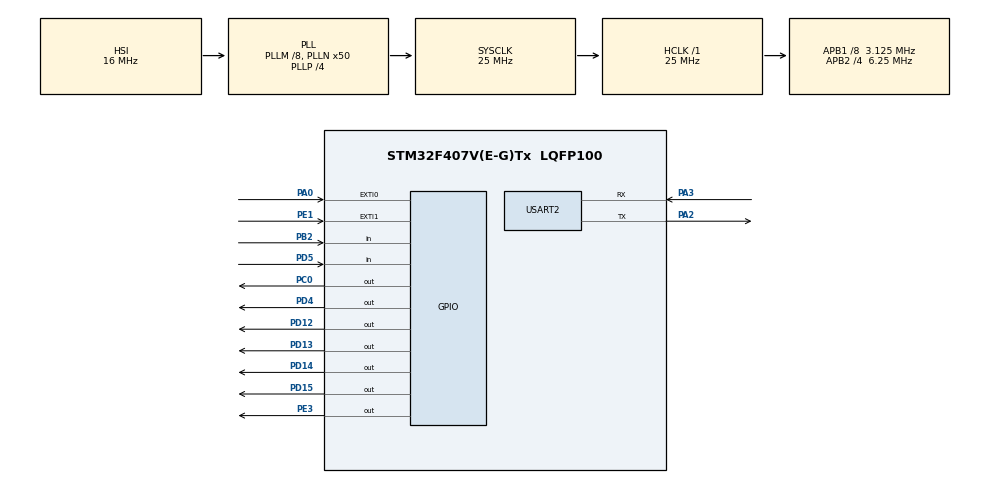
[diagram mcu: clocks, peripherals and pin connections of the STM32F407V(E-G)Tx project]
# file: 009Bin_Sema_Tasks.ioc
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Mcu.Family=STM32F4
Mcu.Name=STM32F407V(E-G)Tx
Mcu.Package=LQFP100
NVIC.PriorityGroup=NVIC_PRIORITYGROUP_4
NVIC.TIM6_DAC_IRQn=true\:0\:0\:false\:false\:true\:false\:true
NVIC.TimeBase=TIM6_DAC_IRQn
NVIC.TimeBaseIP=TIM6
PA0-WKUP.GPIO_ModeDefaultEXTI=GPIO_MODE_IT_RISING
PA0-WKUP.GPIO_PuPd=GPIO_NOPULL
PA0-WKUP.Signal=GPXTI0
PA10.GPIO_Mode=GPIO_MODE_AF_PP
PA10.GPIO_PuPd=GPIO_NOPULL
PA10.GPIO_Speed=GPIO_SPEED_FREQ_VERY_HIGH
PA10.Signal=USB_OTG_FS_ID
PA11.GPIO_Mode=GPIO_MODE_AF_PP
PA11.GPIO_PuPd=GPIO_NOPULL
PA11.GPIO_Speed=GPIO_SPEED_FREQ_VERY_HIGH
PA11.Signal=USB_OTG_FS_DM
PA12.GPIO_Mode=GPIO_MODE_AF_PP
PA12.GPIO_PuPd=GPIO_NOPULL
PA12.GPIO_Speed=GPIO_SPEED_FREQ_VERY_HIGH
PA12.Signal=USB_OTG_FS_DP
PA13.Signal=SYS_JTMS-SWDIO
PA14.Signal=SYS_JTCK-SWCLK
PA2.Mode=Asynchronous
PA2.Signal=USART2_TX
PA3.Mode=Asynchronous
PA3.Signal=USART2_RX
PA4.GPIO_Mode=GPIO_MODE_AF_PP
PA4.GPIO_PuPd=GPIO_NOPULL
PA4.GPIO_Speed=GPIO_SPEED_FREQ_LOW
PA4.Signal=I2S3_WS
PA5.GPIO_Mode=GPIO_MODE_AF_PP
PA5.GPIO_PuPd=GPIO_NOPULL
PA5.GPIO_Speed=GPIO_SPEED_FREQ_VERY_HIGH
PA5.Signal=SPI1_SCK
PA6.GPIO_Mode=GPIO_MODE_AF_PP
PA6.GPIO_PuPd=GPIO_NOPULL
PA6.GPIO_Speed=GPIO_SPEED_FREQ_VERY_HIGH
PA6.Signal=SPI1_MISO
PA7.GPIO_Mode=GPIO_MODE_AF_PP
PA7.GPIO_PuPd=GPIO_NOPULL
PA7.GPIO_Speed=GPIO_SPEED_FREQ_VERY_HIGH
PA7.Signal=SPI1_MOSI
PA9.GPIO_Mode=GPIO_MODE_INPUT
PA9.GPIO_PuPd=GPIO_NOPULL
PA9.Signal=USB_OTG_FS_VBUS
PB10.GPIO_Mode=GPIO_MODE_AF_PP
PB10.GPIO_PuPd=GPIO_NOPULL
PB10.GPIO_Speed=GPIO_SPEED_FREQ_LOW
PB10.Signal=I2S2_CK
PB2.GPIO_Mode=GPIO_MODE_INPUT
PB2.GPIO_PuPd=GPIO_NOPULL
PB2.Signal=GPIO_Input
PB3.Signal=SYS_JTDO-SWO
PB6.GPIO_Mode=GPIO_MODE_AF_OD
PB6.GPIO_PuPd=GPIO_NOPULL
PB6.GPIO_PuPdOD=GPIO_PULLUP
PB6.GPIO_Speed=GPIO_SPEED_FREQ_VERY_HIGH
PB6.Signal=I2C1_SCL
PB9.GPIO_Mode=GPIO_MODE_AF_OD
PB9.GPIO_PuPd=GPIO_NOPULL
PB9.GPIO_PuPdOD=GPIO_PULLUP
PB9.GPIO_Speed=GPIO_SPEED_FREQ_VERY_HIGH
PB9.Signal=I2C1_SDA
PC0.GPIO_ModeDefaultOutputPP=GPIO_MODE_OUTPUT_PP
PC0.GPIO_PuPd=GPIO_NOPULL
PC0.GPIO_Speed=GPIO_SPEED_FREQ_LOW
PC0.PinState=GPIO_PIN_RESET
PC0.Signal=GPIO_Output
PC10.GPIO_Mode=GPIO_MODE_AF_PP
PC10.GPIO_PuPd=GPIO_NOPULL
PC10.GPIO_Speed=GPIO_SPEED_FREQ_LOW
PC10.Signal=I2S3_CK
PC12.GPIO_Mode=GPIO_MODE_AF_PP
PC12.GPIO_PuPd=GPIO_NOPULL
PC12.GPIO_Speed=GPIO_SPEED_FREQ_LOW
PC12.Signal=I2S3_SD
PC14-OSC32_IN.Signal=RCC_OSC32_IN
PC15-OSC32_OUT.Signal=RCC_OSC32_OUT
PC3.GPIO_Mode=GPIO_MODE_AF_PP
PC3.GPIO_PuPd=GPIO_NOPULL
PC3.GPIO_Speed=GPIO_SPEED_FREQ_LOW
PC3.Signal=I2S2_SD
PC7.GPIO_Mode=GPIO_MODE_AF_PP
PC7.GPIO_PuPd=GPIO_NOPULL
PC7.GPIO_Speed=GPIO_SPEED_FREQ_LOW
PC7.Signal=I2S3_MCK
PD12.GPIO_ModeDefaultOutputPP=GPIO_MODE_OUTPUT_PP
PD12.GPIO_PuPd=GPIO_NOPULL
PD12.GPIO_Speed=GPIO_SPEED_FREQ_LOW
PD12.PinState=GPIO_PIN_RESET
PD12.Signal=GPIO_Output
PD13.GPIO_ModeDefaultOutputPP=GPIO_MODE_OUTPUT_PP
PD13.GPIO_PuPd=GPIO_NOPULL
PD13.GPIO_Speed=GPIO_SPEED_FREQ_LOW
PD13.PinState=GPIO_PIN_RESET
PD13.Signal=GPIO_Output
PD14.GPIO_ModeDefaultOutputPP=GPIO_MODE_OUTPUT_PP
PD14.GPIO_PuPd=GPIO_NOPULL
PD14.GPIO_Speed=GPIO_SPEED_FREQ_LOW
PD14.PinState=GPIO_PIN_RESET
PD14.Signal=GPIO_Output
PD15.GPIO_ModeDefaultOutputPP=GPIO_MODE_OUTPUT_PP
PD15.GPIO_PuPd=GPIO_NOPULL
PD15.GPIO_Speed=GPIO_SPEED_FREQ_LOW
PD15.PinState=GPIO_PIN_RESET
PD15.Signal=GPIO_Output
PD4.GPIO_ModeDefaultOutputPP=GPIO_MODE_OUTPUT_PP
PD4.GPIO_PuPd=GPIO_NOPULL
PD4.GPIO_Speed=GPIO_SPEED_FREQ_LOW
PD4.PinState=GPIO_PIN_RESET
PD4.Signal=GPIO_Output
PD5.GPIO_Mode=GPIO_MODE_INPUT
PD5.GPIO_PuPd=GPIO_NOPULL
PD5.Signal=GPIO_Input
PE1.GPIO_ModeDefaultEXTI=GPIO_MODE_IT_RISING
PE1.GPIO_PuPd=GPIO_NOPULL
PE1.Signal=GPXTI1
PE3.GPIO_ModeDefaultOutputPP=GPIO_MODE_OUTPUT_PP
PE3.GPIO_PuPd=GPIO_NOPULL
PE3.GPIO_Speed=GPIO_SPEED_FREQ_LOW
PE3.PinState=GPIO_PIN_RESET
PE3.Signal=GPIO_Output
PH0-OSC_IN.Signal=RCC_OSC_IN
PH1-OSC_OUT.Signal=RCC_OSC_OUT
ProjectManager.HeapSize=0x200
ProjectManager.StackSize=0x400
ProjectManager.TargetToolchain=STM32CubeIDE
RCC.48MHZClocksFreq_Value=14285714.285714285
RCC.AHBFreq_Value=25000000
RCC.APB1CLKDivider=RCC_HCLK_DIV8
RCC.APB1Freq_Value=3125000
RCC.APB1TimFreq_Value=6250000
RCC.APB2CLKDivider=RCC_HCLK_DIV4
RCC.APB2Freq_Value=6250000
RCC.APB2TimFreq_Value=12500000
RCC.CortexFreq_Value=25000000
RCC.HCLKFreq_Value=25000000
RCC.HSE_VALUE=8000000
RCC.HSI_VALUE=16000000
RCC.LSE_VALUE=32768
RCC.PLLM=8
RCC.PLLN=50
RCC.PLLP=RCC_PLLP_DIV4
RCC.PLLQ=7
RCC.SYSCLKFreq_VALUE=25000000
RCC.SYSCLKSource=RCC_SYSCLKSOURCE_PLLCLK
RCC.VCOOutputFreq_Value=100000000
USART2.VirtualMode=VM_ASYNC
VP_SYS_VS_tim6.Mode=TIM6
board=STM32F4DISCOVERY

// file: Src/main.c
/* USER CODE BEGIN Header */
/**
  ******************************************************************************
  * @file           : main.c
  * @brief          : Main program body
  ******************************************************************************
  * @attention
  *
  * <h2><center>&copy; Copyright (c) 2024 STMicroelectronics.
  * All rights reserved.</center></h2>
  *
  * This software component is licensed by ST under BSD 3-Clause license,
  * the "License"; You may not use this file except in compliance with the
  * License. You may obtain a copy of the License at:
  *                        opensource.org/licenses/BSD-3-Clause
  *
  ******************************************************************************
  */
/* USER CODE END Header */

#include "main.h"

/* USER CODE BEGIN Includes */
#include "stdio.h"
#include "stdlib.h"
#include "string.h"
#include <time.h>

#include "FreeRTOS.h"
#include "task.h"
#include "queue.h"
#include "semphr.h"

#include "stm32f407xx.h"
/* USER CODE END Includes */

UART_HandleTypeDef huart2;

/* USER CODE BEGIN PV */
#define DWT_CTRL    (*(volatile uint32_t*)0xE0001000)

#define D_UART	&huart2

TaskHandle_t ManagerTask_handle;
TaskHandle_t EmployeeTask_handle;

/* Declare a variable of type xSemaphoreHandle.
This is used to reference the semaphore that is used to synchronize both Manager and Employee task */
xSemaphoreHandle xBin_Sema;

/* This is the Queue which Manager task uses to put the work Ticket ID */
xQueueHandle xWorkQueue;

char usr_msg[250]={0};
/* USER CODE END PV */

void SystemClock_Config(void);
static void MX_GPIO_Init(void);
static void MX_USART2_UART_Init(void);
/* USER CODE BEGIN PFP */
static void vManagerTask_handler(void *pvParameters);
static void vEmployeeTask_handler(void *pvParameters);
void EmployeeDoWork(uint32_t u32TicketID);
void printmsg(char *format,...);

extern void SEGGER_UART_init(uint32_t);
/* USER CODE END PFP */

int main(void)
{
  /* USER CODE BEGIN 1 */
	BaseType_t status;
  /* USER CODE END 1 */

  /* MCU Configuration--------------------------------------------------------*/

  /* Reset of all peripherals, Initializes the Flash interface and the Systick. */
  HAL_Init();

  /* Configure the system clock */
  SystemClock_Config();

  /* Initialize all configured peripherals */
  MX_GPIO_Init();
  MX_USART2_UART_Init();
  /* USER CODE BEGIN 2 */
  //SEGGER_UART_init(500000);

  //CYCLCNT enable
     DWT_CTRL |= ( 1 << 0);

     //SEGGER_SYSVIEW_Conf();

  //   SEGGER_SYSVIEW_Start();

     srand(time(NULL)); // Seed once at the start

     printmsg("Demo of Binary semaphore usage between 2 Tasks \r\n");

     /* Create Binary semaphore */
     vSemaphoreCreateBinary(xBin_Sema);

     /* Create Queue: 1 space for Ticket ID, Ticket ID is unsigned int type */
     xWorkQueue = xQueueCreate(1, sizeof(unsigned int));

     /* If the Binary semaphore and Queue are created successfully, we will create 2 tasks and schedule them */
     if ((xBin_Sema != NULL) && (xWorkQueue != NULL))
     {
    	// The Manager task is created with a high priority
		status = xTaskCreate(vManagerTask_handler, "Manager-Task", 500, NULL, 3, &ManagerTask_handle);
		configASSERT(status == pdPASS);

		// The Employee task is created with lower priority than Manager task
		status = xTaskCreate(vEmployeeTask_handler, "Employee-Task", 500, NULL, 1, &EmployeeTask_handle);
		configASSERT(status == pdPASS);

		// Start the scheduler
		vTaskStartScheduler();
     }

  /* USER CODE END 2 */

  /* Infinite loop */
  /* USER CODE BEGIN WHILE */
     /* If all is well we will never reach here as the scheduler will now be
         running the tasks.  If we do reach here then it is likely that there was
         insufficient heap memory available for a resource to be created. */
  while (1)
  {
    /* USER CODE END WHILE */

  }
}

void SystemClock_Config(void)
{
  RCC_OscInitTypeDef RCC_OscInitStruct = {0};
  RCC_ClkInitTypeDef RCC_ClkInitStruct = {0};

  /** Configure the main internal regulator output voltage
  */
  __HAL_RCC_PWR_CLK_ENABLE();
  __HAL_PWR_VOLTAGESCALING_CONFIG(PWR_REGULATOR_VOLTAGE_SCALE1);
  /** Initializes the CPU, AHB and APB busses clocks
  */
  RCC_OscInitStruct.OscillatorType = RCC_OSCILLATORTYPE_HSI;
  RCC_OscInitStruct.HSIState = RCC_HSI_ON;
  RCC_OscInitStruct.HSICalibrationValue = RCC_HSICALIBRATION_DEFAULT;
  RCC_OscInitStruct.PLL.PLLState = RCC_PLL_ON;
  RCC_OscInitStruct.PLL.PLLSource = RCC_PLLSOURCE_HSI;
  RCC_OscInitStruct.PLL.PLLM = 8;
  RCC_OscInitStruct.PLL.PLLN = 50;
  RCC_OscInitStruct.PLL.PLLP = RCC_PLLP_DIV4;
  RCC_OscInitStruct.PLL.PLLQ = 7;
  if (HAL_RCC_OscConfig(&RCC_OscInitStruct) != HAL_OK)
  {
    Error_Handler();
  }
  /** Initializes the CPU, AHB and APB busses clocks
  */
  RCC_ClkInitStruct.ClockType = RCC_CLOCKTYPE_HCLK|RCC_CLOCKTYPE_SYSCLK
                              |RCC_CLOCKTYPE_PCLK1|RCC_CLOCKTYPE_PCLK2;
  RCC_ClkInitStruct.SYSCLKSource = RCC_SYSCLKSOURCE_PLLCLK;
  RCC_ClkInitStruct.AHBCLKDivider = RCC_SYSCLK_DIV1;
  RCC_ClkInitStruct.APB1CLKDivider = RCC_HCLK_DIV8;
  RCC_ClkInitStruct.APB2CLKDivider = RCC_HCLK_DIV4;

  if (HAL_RCC_ClockConfig(&RCC_ClkInitStruct, FLASH_LATENCY_0) != HAL_OK)
  {
    Error_Handler();
  }
}

static void MX_USART2_UART_Init(void)
{

  huart2.Instance = USART2;
  huart2.Init.BaudRate = 115200;
  huart2.Init.WordLength = UART_WORDLENGTH_8B;
  huart2.Init.StopBits = UART_STOPBITS_1;
  huart2.Init.Parity = UART_PARITY_NONE;
  huart2.Init.Mode = UART_MODE_TX_RX;
  huart2.Init.HwFlowCtl = UART_HWCONTROL_NONE;
  huart2.Init.OverSampling = UART_OVERSAMPLING_16;
  if (HAL_UART_Init(&huart2) != HAL_OK)
  {
    Error_Handler();
  }

}

static void MX_GPIO_Init(void)
{
  GPIO_InitTypeDef GPIO_InitStruct = {0};

  /* GPIO Ports Clock Enable */
  __HAL_RCC_GPIOE_CLK_ENABLE();
  __HAL_RCC_GPIOC_CLK_ENABLE();
  __HAL_RCC_GPIOH_CLK_ENABLE();
  __HAL_RCC_GPIOA_CLK_ENABLE();
  __HAL_RCC_GPIOB_CLK_ENABLE();
  __HAL_RCC_GPIOD_CLK_ENABLE();

  /*Configure GPIO pin Output Level */
  HAL_GPIO_WritePin(GPIOE, GPIO_PIN_3, GPIO_PIN_RESET);

  /*Configure GPIO pin Output Level */
  HAL_GPIO_WritePin(GPIOC, GPIO_PIN_0, GPIO_PIN_RESET);

  /*Configure GPIO pin Output Level */
  HAL_GPIO_WritePin(GPIOD, GPIO_PIN_12|GPIO_PIN_13|GPIO_PIN_14|GPIO_PIN_15
                          |GPIO_PIN_4, GPIO_PIN_RESET);

  /*Configure GPIO pin : PE3 */
  GPIO_InitStruct.Pin = GPIO_PIN_3;
  GPIO_InitStruct.Mode = GPIO_MODE_OUTPUT_PP;
  GPIO_InitStruct.Pull = GPIO_NOPULL;
  GPIO_InitStruct.Speed = GPIO_SPEED_FREQ_LOW;
  HAL_GPIO_Init(GPIOE, &GPIO_InitStruct);

  /*Configure GPIO pin : PC0 */
  GPIO_InitStruct.Pin = GPIO_PIN_0;
  GPIO_InitStruct.Mode = GPIO_MODE_OUTPUT_PP;
  GPIO_InitStruct.Pull = GPIO_NOPULL;
  GPIO_InitStruct.Speed = GPIO_SPEED_FREQ_LOW;
  HAL_GPIO_Init(GPIOC, &GPIO_InitStruct);

  /*Configure GPIO pin : PC3 */
  GPIO_InitStruct.Pin = GPIO_PIN_3;
  GPIO_InitStruct.Mode = GPIO_MODE_AF_PP;
  GPIO_InitStruct.Pull = GPIO_NOPULL;
  GPIO_InitStruct.Speed = GPIO_SPEED_FREQ_LOW;
  GPIO_InitStruct.Alternate = GPIO_AF5_SPI2;
  HAL_GPIO_Init(GPIOC, &GPIO_InitStruct);

  /*Configure GPIO pin : PA0 */
  GPIO_InitStruct.Pin = GPIO_PIN_0;
  GPIO_InitStruct.Mode = GPIO_MODE_IT_RISING;
  GPIO_InitStruct.Pull = GPIO_NOPULL;
  HAL_GPIO_Init(GPIOA, &GPIO_InitStruct);

  /*Configure GPIO pin : PA4 */
  GPIO_InitStruct.Pin = GPIO_PIN_4;
  GPIO_InitStruct.Mode = GPIO_MODE_AF_PP;
  GPIO_InitStruct.Pull = GPIO_NOPULL;
  GPIO_InitStruct.Speed = GPIO_SPEED_FREQ_LOW;
  GPIO_InitStruct.Alternate = GPIO_AF6_SPI3;
  HAL_GPIO_Init(GPIOA, &GPIO_InitStruct);

  /*Configure GPIO pins : PA5 PA6 PA7 */
  GPIO_InitStruct.Pin = GPIO_PIN_5|GPIO_PIN_6|GPIO_PIN_7;
  GPIO_InitStruct.Mode = GPIO_MODE_AF_PP;
  GPIO_InitStruct.Pull = GPIO_NOPULL;
  GPIO_InitStruct.Speed = GPIO_SPEED_FREQ_VERY_HIGH;
  GPIO_InitStruct.Alternate = GPIO_AF5_SPI1;
  HAL_GPIO_Init(GPIOA, &GPIO_InitStruct);

  /*Configure GPIO pin : PB2 */
  GPIO_InitStruct.Pin = GPIO_PIN_2;
  GPIO_InitStruct.Mode = GPIO_MODE_INPUT;
  GPIO_InitStruct.Pull = GPIO_NOPULL;
  HAL_GPIO_Init(GPIOB, &GPIO_InitStruct);

  /*Configure GPIO pin : PB10 */
  GPIO_InitStruct.Pin = GPIO_PIN_10;
  GPIO_InitStruct.Mode = GPIO_MODE_AF_PP;
  GPIO_InitStruct.Pull = GPIO_NOPULL;
  GPIO_InitStruct.Speed = GPIO_SPEED_FREQ_LOW;
  GPIO_InitStruct.Alternate = GPIO_AF5_SPI2;
  HAL_GPIO_Init(GPIOB, &GPIO_InitStruct);

  /*Configure GPIO pins : PD12 PD13 PD14 PD15
                           PD4 */
  GPIO_InitStruct.Pin = GPIO_PIN_12|GPIO_PIN_13|GPIO_PIN_14|GPIO_PIN_15
                          |GPIO_PIN_4;
  GPIO_InitStruct.Mode = GPIO_MODE_OUTPUT_PP;
  GPIO_InitStruct.Pull = GPIO_NOPULL;
  GPIO_InitStruct.Speed = GPIO_SPEED_FREQ_LOW;
  HAL_GPIO_Init(GPIOD, &GPIO_InitStruct);

  /*Configure GPIO pins : PC7 PC10 PC12 */
  GPIO_InitStruct.Pin = GPIO_PIN_7|GPIO_PIN_10|GPIO_PIN_12;
  GPIO_InitStruct.Mode = GPIO_MODE_AF_PP;
  GPIO_InitStruct.Pull = GPIO_NOPULL;
  GPIO_InitStruct.Speed = GPIO_SPEED_FREQ_LOW;
  GPIO_InitStruct.Alternate = GPIO_AF6_SPI3;
  HAL_GPIO_Init(GPIOC, &GPIO_InitStruct);

  /*Configure GPIO pin : PA9 */
  GPIO_InitStruct.Pin = GPIO_PIN_9;
  GPIO_InitStruct.Mode = GPIO_MODE_INPUT;
  GPIO_InitStruct.Pull = GPIO_NOPULL;
  HAL_GPIO_Init(GPIOA, &GPIO_InitStruct);

  /*Configure GPIO pins : PA10 PA11 PA12 */
  GPIO_InitStruct.Pin = GPIO_PIN_10|GPIO_PIN_11|GPIO_PIN_12;
  GPIO_InitStruct.Mode = GPIO_MODE_AF_PP;
  GPIO_InitStruct.Pull = GPIO_NOPULL;
  GPIO_InitStruct.Speed = GPIO_SPEED_FREQ_VERY_HIGH;
  GPIO_InitStruct.Alternate = GPIO_AF10_OTG_FS;
  HAL_GPIO_Init(GPIOA, &GPIO_InitStruct);

  /*Configure GPIO pin : PD5 */
  GPIO_InitStruct.Pin = GPIO_PIN_5;
  GPIO_InitStruct.Mode = GPIO_MODE_INPUT;
  GPIO_InitStruct.Pull = GPIO_NOPULL;
  HAL_GPIO_Init(GPIOD, &GPIO_InitStruct);

  /*Configure GPIO pins : PB6 PB9 */
  GPIO_InitStruct.Pin = GPIO_PIN_6|GPIO_PIN_9;
  GPIO_InitStruct.Mode = GPIO_MODE_AF_OD;
  GPIO_InitStruct.Pull = GPIO_PULLUP;
  GPIO_InitStruct.Speed = GPIO_SPEED_FREQ_VERY_HIGH;
  GPIO_InitStruct.Alternate = GPIO_AF4_I2C1;
  HAL_GPIO_Init(GPIOB, &GPIO_InitStruct);

  /*Configure GPIO pin : PE1 */
  GPIO_InitStruct.Pin = GPIO_PIN_1;
  GPIO_InitStruct.Mode = GPIO_MODE_IT_RISING;
  GPIO_InitStruct.Pull = GPIO_NOPULL;
  HAL_GPIO_Init(GPIOE, &GPIO_InitStruct);

}

/* USER CODE BEGIN 4 */
static void vManagerTask_handler(void *pvParameters)
{
	unsigned int u32TicketID;
	portBASE_TYPE xStatus;

	/* The semaphore is created in the 'empty' state, meaning the semaphore must
		 first be given using the xSemaphoreGive() API function before it
		 can subsequently be taken (obtained) */
	xSemaphoreGive(xBin_Sema);

	while(1)
	{
		/* Get the work Ticket ID (some random number) */
		u32TicketID = (rand() & 0x1FF);

		/* Send work Ticket ID to the queue */
		xStatus = xQueueSend(xWorkQueue, &u32TicketID, portMAX_DELAY);

		if (xStatus != pdPASS)
		{
			//sprintf(usr_msg, "Could not send to the queue. \r\n");
			printmsg("Could not send to the queue. \r\n");
		}
		else
		{
			/* Manager notifies the Employee by "Giving" semaphore */
			xSemaphoreGive(xBin_Sema);
			/* After assigning the work, just yield the processor because Manager task has nothing to do now */
			taskYIELD();
		}
	}
}

void EmployeeDoWork(uint32_t u32TicketID)
{
	/* implement the work according to TicketID */
	//sprintf(usr_msg, "Employee task: Working on Ticket ID: %ld\r\n", u32TicketID);
	printmsg("Employee task: Working on Ticket ID: %ld\r\n", u32TicketID);
	vTaskDelay(u32TicketID);
}

static void vEmployeeTask_handler(void *pvParameters)
{
	uint32_t u32TicketID;
	portBASE_TYPE xStatus;

	while(1)
	{
		/* First, Employee will try to take the semaphore.
			> If the semaphore is available --> there is a task assigned by Manager.
			> Otherwise, Employee task will be blocked.
		*/
		xSemaphoreTake(xBin_Sema, 0);

		/* If the execution reaches here, it means that Employee take semaphore successfully
		   Now Employee task will try to read Ticket ID from Queue
		 */
		xStatus = xQueueReceive(xWorkQueue, &u32TicketID, 0);

		if (xStatus == pdPASS)
		{
			/* Employee will decode the u32TicketID in this function to do the work */
			EmployeeDoWork(u32TicketID);
		}
		else
		{
			//sprintf(usr_msg, "Employee task: Queue is empty, nothing to do. \r\n");
			printmsg("Employee task: Queue is empty, nothing to do. \r\n");
		}
	}
}

void printmsg(char *format,...)
{
	char str[150];

	va_list args;
	va_start(args, format);
	vsprintf(str, format, args);
	HAL_UART_Transmit(D_UART, (uint8_t *)str, strlen(str), HAL_MAX_DELAY);
	va_end(args);
}
/* USER CODE END 4 */

void HAL_TIM_PeriodElapsedCallback(TIM_HandleTypeDef *htim)
{
  if (htim->Instance == TIM6) {
    HAL_IncTick();
  }
}

void Error_Handler(void)
{
}

/************************ (C) COPYRIGHT STMicroelectronics *****END OF FILE****/
